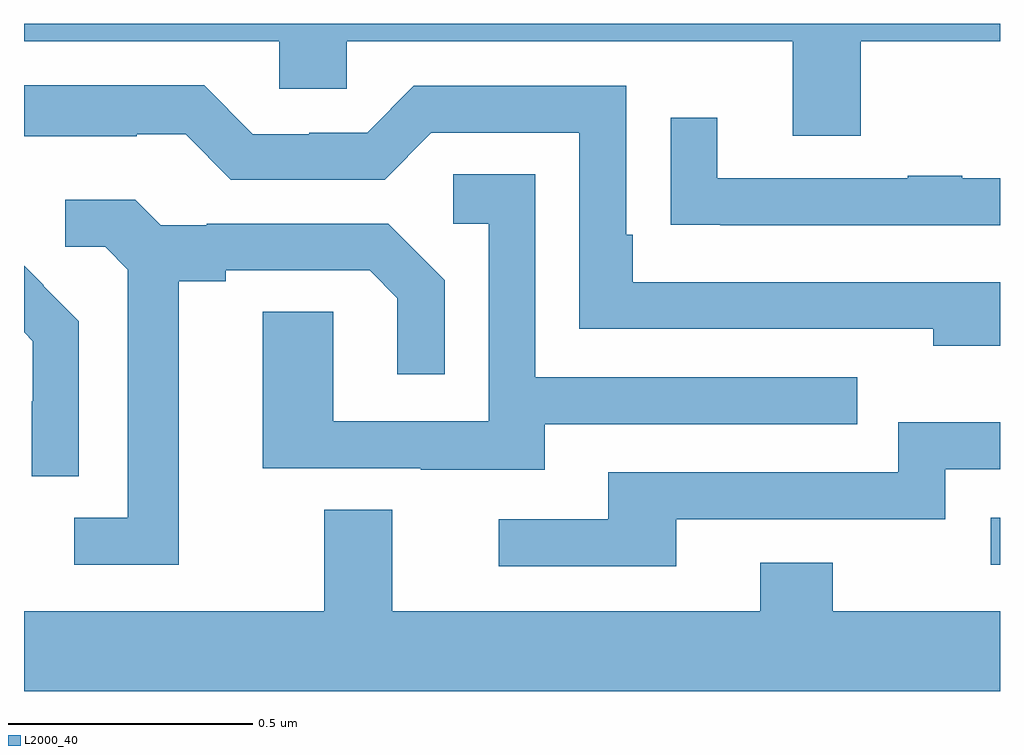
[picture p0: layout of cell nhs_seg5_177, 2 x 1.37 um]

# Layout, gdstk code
import gdstk
lib = gdstk.Library(unit=1e-6, precision=1e-09)
def R(c, l, rs):  # rectangles x0, y0, x1, y1
    for r in rs: c.add(gdstk.rectangle(r[:2], r[2:], *l))
def P(c, l, *ps):  # polygons
    for p in ps: c.add(gdstk.Polygon(p, *l))
L2000_40 = (2000, 40)

nhs_seg5_177 = lib.new_cell('nhs_seg5_177')
R(nhs_seg5_177, L2000_40, [(114.981,851.691,115,851.787)])
P(nhs_seg5_177, L2000_40, [(114.715,852.764),(115,852.764),(115,852.799),(113,852.799),(113,852.764),(113.523,852.764),(113.523,852.666),(113.661,852.666),(113.661,852.764),(114.575,852.764),(114.575,852.57),(114.715,852.57)],
  [(115,852.27),(114.247,852.27),(114.247,852.367),(114.234,852.367),(114.234,852.672),(113.799,852.672),(113.703,852.576),(113.585,852.576),(113.585,852.573),(113.469,852.573),(113.369,852.673),(113,852.673),(113,852.569),(113.231,852.569),(113.231,852.573),(113.331,852.573),(113.424,852.48),(113.739,852.48),(113.835,852.576),(114.138,852.576),(114.138,852.174),(114.863,852.174),(114.863,852.14),(115,852.14)],
  [(115,852.483),(114.923,852.483),(114.923,852.488),(114.811,852.488),(114.811,852.483),(114.421,852.483),(114.421,852.607),(114.325,852.607),(114.325,852.388),(114.427,852.388),(114.427,852.387),(115,852.387)],
  [(114.067,851.979),(114.707,851.979),(114.707,852.075),(114.048,852.075),(114.048,852.491),(113.88,852.491),(113.88,852.39),(113.952,852.39),(113.952,851.985),(113.634,851.985),(113.634,852.209),(113.489,852.209),(113.489,851.889),(113.813,851.889),(113.813,851.885),(114.067,851.885)],
  [(113.317,852.272),(113.413,852.272),(113.413,852.294),(113.708,852.294),(113.765,852.237),(113.765,852.081),(113.862,852.081),(113.862,852.274),(113.746,852.39),(113.374,852.39),(113.374,852.387),(113.28,852.387),(113.228,852.439),(113.085,852.439),(113.085,852.342),(113.166,852.342),(113.213,852.295),(113.213,851.787),(113.103,851.787),(113.103,851.691),(113.317,851.691)],
  [(113.112,852.19),(113.039,852.263),(113.04,852.264),(113,852.304),(113,852.167),(113.018,852.149),(113.018,852.026),(113.016,852.026),(113.016,851.872),(113.112,851.872)],
  [(114.337,851.784),(114.888,851.784),(114.888,851.886),(115,851.886),(115,851.983),(114.792,851.983),(114.792,851.88),(114.197,851.88),(114.197,851.784),(113.973,851.784),(113.973,851.688),(114.337,851.688)],
  [(115,851.596),(114.657,851.596),(114.657,851.695),(114.509,851.695),(114.509,851.596),(113.755,851.596),(113.755,851.804),(113.615,851.804),(113.615,851.596),(113,851.596),(113,851.432),(115,851.432)])

lib.write_gds('nhs_seg5_177.gds')
